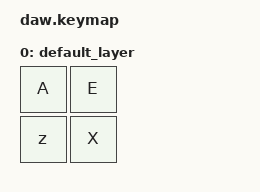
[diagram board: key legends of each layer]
#include <behaviors.dtsi>
#include <dt-bindings/zmk/bt.h>
#include <dt-bindings/zmk/keys.h>

/ {
    keymap {
        compatible = "zmk,keymap";

	default_layer {
            bindings = <
                &kp A &kp E
                &kp z &kp X
	        >;
	    };
    };
};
